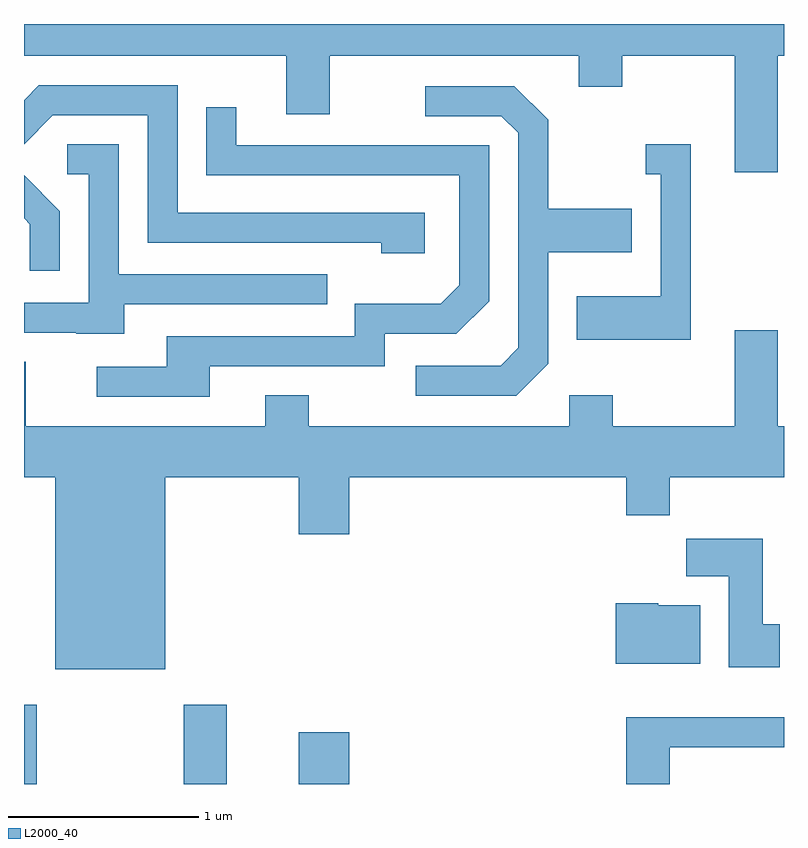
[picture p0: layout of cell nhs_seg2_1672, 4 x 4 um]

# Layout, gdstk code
import gdstk
lib = gdstk.Library(unit=1e-6, precision=1e-09)
def R(c, l, rs):  # rectangles x0, y0, x1, y1
    for r in rs: c.add(gdstk.rectangle(r[:2], r[2:], *l))
def P(c, l, *ps):  # polygons
    for p in ps: c.add(gdstk.Polygon(p, *l))
L2000_40 = (2000, 40)

nhs_seg2_1672 = lib.new_cell('nhs_seg2_1672')
R(nhs_seg2_1672, L2000_40, [(233.611,1057.802,233.679,1058.219), (234.451,1057.802,234.679,1058.219), (235.056,1057.802,235.324,1058.074)])
P(nhs_seg2_1672, L2000_40, [(237.579,1061.636),(237.611,1061.636),(237.611,1061.802),(233.611,1061.802),(233.611,1061.636),(234.991,1061.636),(234.991,1061.326),(235.219,1061.326),(235.219,1061.636),(236.531,1061.636),(236.531,1061.471),(236.759,1061.471),(236.759,1061.636),(237.351,1061.636),(237.351,1061.021),(237.579,1061.021)],
  [(235.719,1060.809),(234.419,1060.809),(234.419,1061.479),(233.689,1061.479),(233.611,1061.401),(233.611,1061.17),(233.762,1061.321),(234.261,1061.321),(234.261,1060.651),(235.491,1060.651),(235.491,1060.596),(235.719,1060.596)],
  [(236.369,1060.014),(236.369,1060.601),(236.809,1060.601),(236.809,1060.829),(236.369,1060.829),(236.369,1061.297),(236.192,1061.474),(235.723,1061.474),(235.723,1061.316),(236.124,1061.316),(236.211,1061.229),(236.211,1060.097),(236.119,1060.004),(235.673,1060.004),(235.673,1059.846),(236.202,1059.846)],
  [(234.589,1060.001),(235.509,1060.001),(235.509,1060.171),(235.887,1060.171),(236.059,1060.344),(236.059,1061.164),(234.729,1061.164),(234.729,1061.363),(234.571,1061.363),(234.571,1061.006),(235.901,1061.006),(235.901,1060.427),(235.804,1060.329),(235.351,1060.329),(235.351,1060.159),(234.361,1060.159),(234.361,1059.999),(233.993,1059.999),(233.993,1059.841),(234.589,1059.841)],
  [(237.119,1061.169),(236.883,1061.169),(236.883,1061.011),(236.961,1061.011),(236.961,1060.369),(236.521,1060.369),(236.521,1060.141),(237.119,1060.141)],
  [(234.139,1060.326),(235.208,1060.326),(235.208,1060.484),(234.109,1060.484),(234.109,1061.169),(233.838,1061.169),(233.838,1061.011),(233.951,1061.011),(233.951,1060.334),(233.611,1060.334),(233.611,1060.176),(233.885,1060.176),(233.885,1060.171),(234.139,1060.171)],
  [(233.799,1060.817),(233.611,1061.005),(233.611,1060.779),(233.641,1060.749),(233.641,1060.503),(233.799,1060.503)],
  [(234.881,1059.684),(233.619,1059.684),(233.619,1060.024),(233.611,1060.024),(233.611,1059.416),(233.776,1059.416),(233.776,1058.406),(234.354,1058.406),(234.354,1059.416),(235.056,1059.416),(235.056,1059.116),(235.324,1059.116),(235.324,1059.416),(236.781,1059.416),(236.781,1059.216),(237.009,1059.216),(237.009,1059.416),(237.611,1059.416),(237.611,1059.684),(237.579,1059.684),(237.579,1060.189),(237.351,1060.189),(237.351,1059.684),(236.709,1059.684),(236.709,1059.849),(236.481,1059.849),(236.481,1059.684),(235.109,1059.684),(235.109,1059.849),(234.881,1059.849)],
  [(237.589,1058.644),(237.499,1058.644),(237.499,1059.094),(237.096,1059.094),(237.096,1058.896),(237.321,1058.896),(237.321,1058.416),(237.589,1058.416)],
  [(237.169,1058.744),(236.95,1058.744),(236.95,1058.754),(236.726,1058.754),(236.726,1058.436),(237.169,1058.436)],
  [(237.009,1057.996),(237.611,1057.996),(237.611,1058.154),(236.781,1058.154),(236.781,1057.802),(237.009,1057.802)])

lib.write_gds('nhs_seg2_1672.gds')
